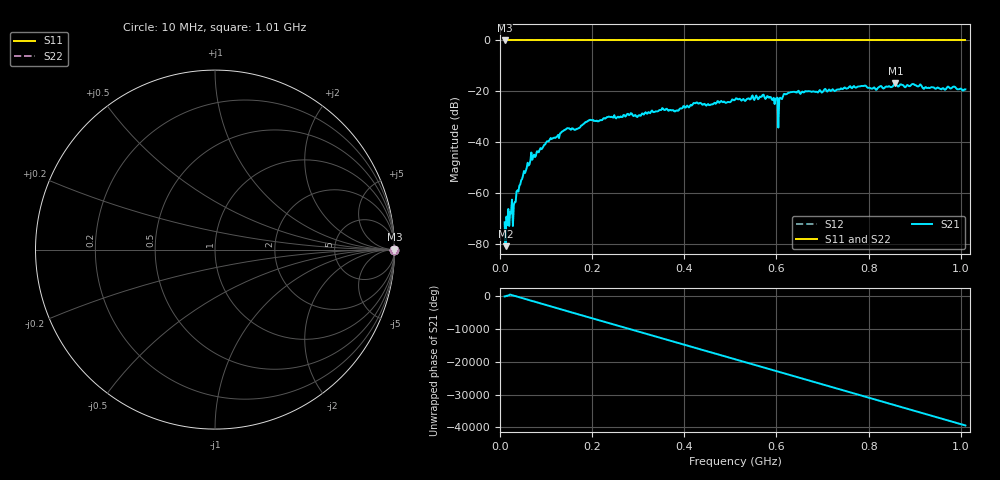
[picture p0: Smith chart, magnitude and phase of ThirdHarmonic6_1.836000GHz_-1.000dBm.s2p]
! 8/16/2025 10:14:03 PM
! C:\ANRITSUVNA\TEMP\TEMP.S2P
! CHANNEL.1
! TR.MEASUREMENT
! RAW.DATA
! RF.CORRECTION.OFF
! AVERAGING.OFF
! IF.BANDWIDTH: 5KHZ
! SWEEPTYPE:  FREQ.SWEEP(Linear)
! Reference Plane Port Info
! PORT:  PORT1  PORT2
! DISTANCE:  0  m  0  m
! TIME:  0  s  0  s
! PHASE.OFFSET:  0  deg.  0  deg.
! LOSS:  0  dB  0  dB
! REF.LOSS:  0  dB  0  dB
! REF.FREQ:  0  Hz  0  Hz
! Power Info
! POWER:  -20  dBm  -20  dBm
! EFF.POWER:  -20  dBm  -20  dBm
! SOURCE.ATTEN:  0  dB  0  dB
! TEST.ATTEN:  0  dB  0  dB
# GHZ S RI R 50.0
! FREQ.GHZ  S11RE  S11IM  S21RE  S21IM  S12RE  S12IM  S22RE  S22IM
!; PortSelection: Port_12
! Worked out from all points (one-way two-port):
!   501 points, 10 MHz to 1.01 GHz, reference 50 ohm
!   highest |S21| = -16.91 dB at 858 MHz (marker M1); lowest = -81.1 dB at 12 MHz (marker M2)
!   lowest |S11| = 0.0 dB at 10 MHz (marker M3)
!   |S11| at or under -10 dB: nowhere
!   |S22| runs from 0.0 to 0.0 dB; largest |S21 - S12| = 1.1
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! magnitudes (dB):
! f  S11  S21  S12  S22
! 10 MHz  0.0  -71.7  0.0  0.0
! 12 MHz  0.0  -81.1  0.0  0.0
! 16 MHz  0.0  -72.7  0.0  0.0
! 22 MHz  0.0  -67.5  0.0  0.0
! 24 MHz  0.0  -68.1  0.0  0.0
! 32 MHz  0.0  -63.7  0.0  0.0
! 34 MHz  0.0  -63.6  0.0  0.0
! 48 MHz  0.0  -54.6  0.0  0.0
! 70 MHz  0.0  -47.0  0.0  0.0
! 142 MHz  0.0  -35.2  0.0  0.0
! 178 MHz  0.0  -33.4  0.0  0.0
! 344 MHz  0.0  -27.8  0.0  0.0
! 510 MHz  0.0  -23.4  0.0  0.0
! 584 MHz  0.0  -22.6  0.0  0.0
! 598 MHz  0.0  -23.0  0.0  0.0
! 600 MHz  0.0  -22.8  0.0  0.0
! 608 MHz  0.0  -22.6  0.0  0.0
! 620 MHz  0.0  -21.2  0.0  0.0
! 678 MHz  0.0  -20.1  0.0  0.0
! 844 MHz  0.0  -18.0  0.0  0.0
! 858 MHz  0.0  -16.9  0.0  0.0
! 1.01 GHz  0.0  -19.3  0.0  0.0
